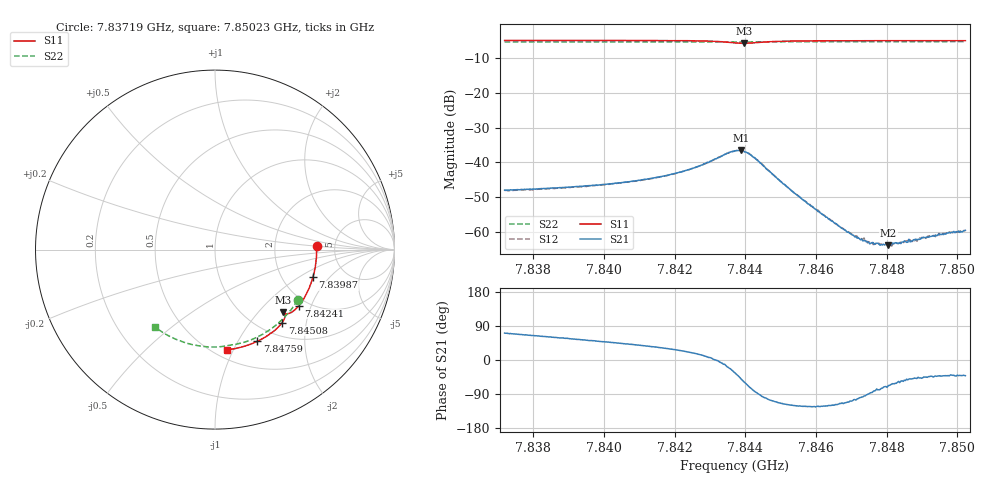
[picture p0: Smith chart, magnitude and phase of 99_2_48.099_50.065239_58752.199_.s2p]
#  HZ  S  RI  R  50.00
! Rohde & Schwarz Vector Network Analyzer
! Rohde-Schwarz,ZNB20-2Port,1311601062101988,3.16
! Created: UTC 12/23/2023, 3:44:34 AM
! freq[Hz]  re:S11  im:S11  re:S21  im:S21  re:S12  im:S12  re:S22  im:S22
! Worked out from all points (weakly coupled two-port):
!   401 points, 7.83719 GHz to 7.85023 GHz, reference 50 ohm
!   highest |S21| = -36.56 dB at 7.84387 GHz (marker M1); lowest = -63.9 dB at 7.84805 GHz (marker M2)
!   lowest |S11| = -5.7 dB at 7.84397 GHz (marker M3), VSWR 3.13, Z = 72.9 - j69 ohm
!   |S11| at or under -10 dB: nowhere
!   |S22| runs from -5.4 to -5.3 dB; largest |S21 - S12| = 0.00033
!   S11 on the Smith chart (normalised r, x): 7.83719 GHz: 3.59, +0.24; 7.83987 GHz: 2.95, -1.34; 7.84241 GHz: 1.80, -1.64; 7.84508 GHz: 1.24, -1.46; 7.84759 GHz: 0.81, -1.21; 7.85023 GHz: 0.58, -0.94
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7.837192e9  0.5659 0.0227  0.0013 0.00376  0.00136 0.00369  0.4603 -0.2816
7.839376e9  0.5538 -0.1219  0.00269 0.00361  0.00264 0.00358  0.3636 -0.3998
7.839865e9  0.5457 -0.1539  0.00309 0.00358  0.00305 0.00359  0.3375 -0.4222
7.84156e9  0.5017 -0.2613  0.00517 0.00334  0.0051 0.00336  0.2377 -0.4863
7.842408e9  0.4675 -0.312  0.00737 0.00278  0.00729 0.00283  0.1827 -0.5096
7.843223e9  0.419 -0.3529  0.0117 -0.000352  0.0116 -0.000432  0.1275 -0.5253
7.843712e9  0.3847 -0.3547  0.0122 -0.00815  0.0122 -0.00812  0.0948 -0.5308
7.843875e9  0.3808 -0.3495  0.00976 -0.0112  0.00969 -0.0109  0.0845 -0.5323
7.843972e9  0.3814 -0.3474  0.00761 -0.0121  0.00758 -0.0121  0.0782 -0.5334
7.844135e9  0.3854 -0.3484  0.00388 -0.0124  0.00399 -0.0124  0.068 -0.5354
7.844331e9  0.3901 -0.357  0.000635 -0.0108  0.000704 -0.0109  0.055 -0.5377
7.845081e9  0.3739 -0.4071  -0.00213 -0.0044  -0.00208 -0.00445  0.00265 -0.5429
7.845896e9  0.3334 -0.4497  -0.00128 -0.00194  -0.00124 -0.00194  -0.055 -0.5408
7.846613e9  0.2933 -0.4792  -0.000576 -0.00112  -0.000607 -0.00109  -0.1051 -0.534
7.847037e9  0.2685 -0.4943  -0.000271 -0.000857  -0.000279 -0.000861  -0.1341 -0.5277
7.847297e9  0.253 -0.5026  -0.000107 -0.000781  -0.000106 -0.000787  -0.1519 -0.523
7.847591e9  0.2351 -0.5113  5.19e-05 -0.000699  6.88e-05 -0.00069  -0.1714 -0.5169
7.848047e9  0.207 -0.5237  0.000245 -0.000593  0.000256 -0.000629  -0.2016 -0.5064
7.84808e9  0.2049 -0.5244  0.000261 -0.000615  0.000258 -0.000575  -0.2038 -0.5055
7.848797e9  0.1595 -0.5399  0.000522 -0.000571  0.000484 -0.000566  -0.2497 -0.4849
7.849221e9  0.1323 -0.5471  0.000614 -0.000588  0.000647 -0.000596  -0.2758 -0.4709
7.850231e9  0.066 -0.5586  0.00079 -0.000694  0.000792 -0.000673  -0.3347 -0.4315
